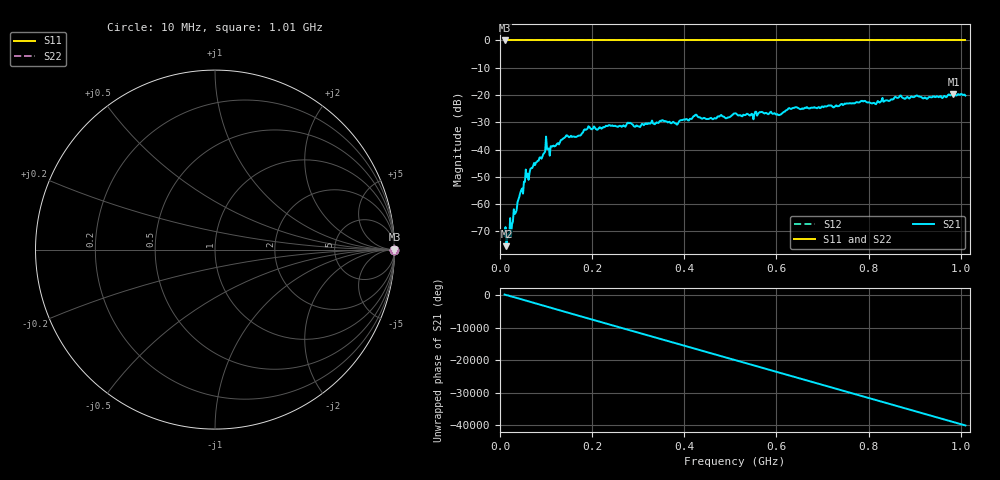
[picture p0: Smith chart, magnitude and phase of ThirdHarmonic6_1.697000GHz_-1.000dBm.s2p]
! 8/16/2025 8:23:39 PM
! C:\ANRITSUVNA\TEMP\TEMP.S2P
! CHANNEL.1
! TR.MEASUREMENT
! RAW.DATA
! RF.CORRECTION.OFF
! AVERAGING.OFF
! IF.BANDWIDTH: 5KHZ
! SWEEPTYPE:  FREQ.SWEEP(Linear)
! Reference Plane Port Info
! PORT:  PORT1  PORT2
! DISTANCE:  0  m  0  m
! TIME:  0  s  0  s
! PHASE.OFFSET:  0  deg.  0  deg.
! LOSS:  0  dB  0  dB
! REF.LOSS:  0  dB  0  dB
! REF.FREQ:  0  Hz  0  Hz
! Power Info
! POWER:  -20  dBm  -20  dBm
! EFF.POWER:  -20  dBm  -20  dBm
! SOURCE.ATTEN:  0  dB  0  dB
! TEST.ATTEN:  0  dB  0  dB
# GHZ S RI R 50.0
! FREQ.GHZ  S11RE  S11IM  S21RE  S21IM  S12RE  S12IM  S22RE  S22IM
!; PortSelection: Port_12
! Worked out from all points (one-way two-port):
!   501 points, 10 MHz to 1.01 GHz, reference 50 ohm
!   highest |S21| = -19.61 dB at 984 MHz (marker M1); lowest = -75.4 dB at 14 MHz (marker M2)
!   lowest |S11| = 0.0 dB at 10 MHz (marker M3)
!   |S11| at or under -10 dB: nowhere
!   |S22| runs from 0.0 to 0.0 dB; largest |S21 - S12| = 1.1
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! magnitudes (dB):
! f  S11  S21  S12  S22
! 10 MHz  0.0  -71.7  0.0  0.0
! 14 MHz  0.0  -75.4  0.0  0.0
! 24 MHz  0.0  -71.8  0.0  0.0
! 56 MHz  0.0  -47.3  0.0  0.0
! 94 MHz  0.0  -41.7  0.0  0.0
! 98 MHz  0.0  -40.7  0.0  0.0
! 110 MHz  0.0  -38.8  0.0  0.0
! 142 MHz  0.0  -35.3  0.0  0.0
! 178 MHz  0.0  -34.0  0.0  0.0
! 192 MHz  0.0  -31.4  0.0  0.0
! 344 MHz  0.0  -30.2  0.0  0.0
! 382 MHz  0.0  -30.5  0.0  0.0
! 424 MHz  0.0  -27.2  0.0  0.0
! 464 MHz  0.0  -28.6  0.0  0.0
! 510 MHz  0.0  -26.7  0.0  0.0
! 604 MHz  0.0  -27.3  0.0  0.0
! 638 MHz  0.0  -24.7  0.0  0.0
! 678 MHz  0.0  -24.7  0.0  0.0
! 844 MHz  0.0  -22.2  0.0  0.0
! 868 MHz  0.0  -20.2  0.0  0.0
! 984 MHz  0.0  -19.6  0.0  0.0
! 1.01 GHz  0.0  -20.2  0.0  0.0
